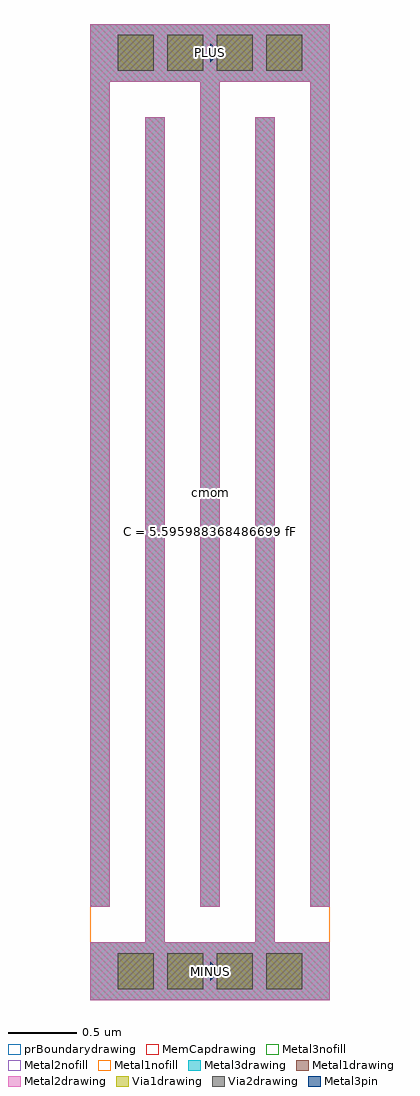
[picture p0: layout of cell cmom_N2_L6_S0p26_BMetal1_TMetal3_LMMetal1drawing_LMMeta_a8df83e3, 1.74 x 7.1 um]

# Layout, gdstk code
import gdstk
lib = gdstk.Library(unit=1e-6, precision=1e-09)
def R(c, l, rs):  # rectangles x0, y0, x1, y1
    for r in rs: c.add(gdstk.rectangle(r[:2], r[2:], *l))
def P(c, l, *ps):  # polygons
    for p in ps: c.add(gdstk.Polygon(p, *l))
Metal1drawing = (8, 0)
Metal1nofill = (8, 23)
Metal2drawing = (10, 0)
Metal2nofill = (10, 23)
Via1drawing = (19, 0)
Via2drawing = (29, 0)
Metal3drawing = (30, 0)
Metal3pin = (30, 2)
Metal3nofill = (30, 23)
MemCapdrawing = (69, 0)
prBoundarydrawing = (189, 0)

bbox_gdsfactorypcomponen = lib.new_cell('bbox_gdsfactorypcomponentspshapespbbox_CUnnamed_0_LprBo_1c9bbcdf')
R(bbox_gdsfactorypcomponen, prBoundarydrawing, [(0,-0.42,1.74,6.68)])

c_bbox_gdsfactorypcomponen = lib.new_cell('bbox_gdsfactorypcomponentspshapespbbox_CUnnamed_0_LMemC_5503aae8')
R(c_bbox_gdsfactorypcomponen, MemCapdrawing, [(0,-0.42,1.74,6.68)])

c_bbox_gdsfactorypcomponen_ = lib.new_cell('bbox_gdsfactorypcomponentspshapespbbox_CUnnamed_0_LMeta_9b0240bd')
R(c_bbox_gdsfactorypcomponen_, Metal3nofill, [(0,-0.42,1.74,6.68)])

rectangle_gdsfactorypcom = lib.new_cell('rectangle_gdsfactorypcomponentspshapesprectangle_S1p74__f3560246')
R(rectangle_gdsfactorypcom, Metal3drawing, [(0,0,1.74,0.42)])

c_rectangle_gdsfactorypcom = lib.new_cell('rectangle_gdsfactorypcomponentspshapesprectangle_S0p14__c99c4eaa')
R(c_rectangle_gdsfactorypcom, Metal3drawing, [(0,0,0.14,6)])

c_rectangle_gdsfactorypcom_ = lib.new_cell('rectangle_gdsfactorypcomponentspshapesprectangle_S1p74__b67e47f5')
R(c_rectangle_gdsfactorypcom_, Metal1drawing, [(0,0,1.74,0.42)])

c_rectangle_gdsfactorypcom__ = lib.new_cell('rectangle_gdsfactorypcomponentspshapesprectangle_S0p14__4607a1b4')
R(c_rectangle_gdsfactorypcom__, Metal2drawing, [(0,0,0.14,6)])

c_bbox_gdsfactorypcomponen__ = lib.new_cell('bbox_gdsfactorypcomponentspshapespbbox_CUnnamed_0_LMeta_09b22789')
R(c_bbox_gdsfactorypcomponen__, Metal2nofill, [(0,-0.42,1.74,6.68)])

c_bbox_gdsfactorypcomponen___ = lib.new_cell('bbox_gdsfactorypcomponentspshapespbbox_CUnnamed_0_LMeta_507ee9db')
R(c_bbox_gdsfactorypcomponen___, Metal1nofill, [(0,-0.42,1.74,6.68)])

c_rectangle_gdsfactorypcom___ = lib.new_cell('rectangle_gdsfactorypcomponentspshapesprectangle_S0p14__d476d105')
R(c_rectangle_gdsfactorypcom___, Metal1drawing, [(0,0,0.14,6)])

c_rectangle_gdsfactorypcom____ = lib.new_cell('rectangle_gdsfactorypcomponentspshapesprectangle_S1p74__3132c2fd')
R(c_rectangle_gdsfactorypcom____, Metal2drawing, [(0,0,1.74,0.42)])

c_rectangle_gdsfactorypcom_____ = lib.new_cell('rectangle_gdsfactorypcomponentspshapesprectangle_S0p26__6e8be91d')
R(c_rectangle_gdsfactorypcom_____, Via1drawing, [(0,0,0.26,0.26)])

via_array_vtvia1_c4_r1_v = lib.new_cell('via_array_VTVia1_C4_R1_VS0p26_VS0p36_VE0p06_LCContdrawi_81fd375f')
via_array_vtvia1_c4_r1_v.add(gdstk.Reference(c_rectangle_gdsfactorypcom_____, (0,0)))
via_array_vtvia1_c4_r1_v.add(gdstk.Reference(c_rectangle_gdsfactorypcom_____, (0.36,0)))
via_array_vtvia1_c4_r1_v.add(gdstk.Reference(c_rectangle_gdsfactorypcom_____, (0.72,0)))
via_array_vtvia1_c4_r1_v.add(gdstk.Reference(c_rectangle_gdsfactorypcom_____, (1.08,0)))

c_rectangle_gdsfactorypcom______ = lib.new_cell('rectangle_gdsfactorypcomponentspshapesprectangle_S1p74__a4dcded5')
R(c_rectangle_gdsfactorypcom______, Metal3drawing, [(-0.87,-0.21,0.87,0.21)])

c_rectangle_gdsfactorypcom_______ = lib.new_cell('rectangle_gdsfactorypcomponentspshapesprectangle_S0p26__938c5197')
R(c_rectangle_gdsfactorypcom_______, Via2drawing, [(0,0,0.26,0.26)])

via_array_vtvia2_c4_r1_v = lib.new_cell('via_array_VTVia2_C4_R1_VS0p26_VS0p36_VE0p06_LCContdrawi_2fb5b1ec')
via_array_vtvia2_c4_r1_v.add(gdstk.Reference(c_rectangle_gdsfactorypcom_______, (0,0)))
via_array_vtvia2_c4_r1_v.add(gdstk.Reference(c_rectangle_gdsfactorypcom_______, (0.36,0)))
via_array_vtvia2_c4_r1_v.add(gdstk.Reference(c_rectangle_gdsfactorypcom_______, (0.72,0)))
via_array_vtvia2_c4_r1_v.add(gdstk.Reference(c_rectangle_gdsfactorypcom_______, (1.08,0)))

c_rectangle_gdsfactorypcom________ = lib.new_cell('rectangle_gdsfactorypcomponentspshapesprectangle_S1p74__83bb5729')
R(c_rectangle_gdsfactorypcom________, Metal2drawing, [(-0.87,-0.21,0.87,0.21)])

c_rectangle_gdsfactorypcom_________ = lib.new_cell('rectangle_gdsfactorypcomponentspshapesprectangle_S1p74__fff7516b')
R(c_rectangle_gdsfactorypcom_________, Metal1drawing, [(-0.87,-0.21,0.87,0.21)])

via_stack_blmetal1_tlmet = lib.new_cell('via_stack_BLMetal1_TLMetal3_S1p74_0p42000000000000004_V_2093c531')
via_stack_blmetal1_tlmet.add(gdstk.Reference(via_array_vtvia1_c4_r1_v, (-0.67,-0.13)))
via_stack_blmetal1_tlmet.add(gdstk.Reference(c_rectangle_gdsfactorypcom______, (0,0)))
via_stack_blmetal1_tlmet.add(gdstk.Reference(via_array_vtvia2_c4_r1_v, (-0.67,-0.13)))
via_stack_blmetal1_tlmet.add(gdstk.Reference(c_rectangle_gdsfactorypcom________, (0,0)))
via_stack_blmetal1_tlmet.add(gdstk.Reference(c_rectangle_gdsfactorypcom_________, (0,0)))

cmom_n2_l6_s0p26_bmetal1 = lib.new_cell('cmom_N2_L6_S0p26_BMetal1_TMetal3_LMMetal1drawing_LMMeta_a8df83e3')
P(cmom_n2_l6_s0p26_bmetal1, Metal3pin, [(0.87,-0.28),(0.87,-0.21),(0.877,-0.21),(0.877,-0.263),(0.931,-0.21),(0.87,-0.21),(0.87,-0.14),(0.94,-0.21)],
  [(0.87,6.4),(0.87,6.47),(0.877,6.47),(0.877,6.417),(0.931,6.47),(0.87,6.47),(0.87,6.54),(0.94,6.47)])
cmom_n2_l6_s0p26_bmetal1.add(gdstk.Reference(bbox_gdsfactorypcomponen, (0,0)))
cmom_n2_l6_s0p26_bmetal1.add(gdstk.Reference(c_bbox_gdsfactorypcomponen, (0,0)))
cmom_n2_l6_s0p26_bmetal1.add(gdstk.Reference(c_bbox_gdsfactorypcomponen_, (0,0)))
cmom_n2_l6_s0p26_bmetal1.add(gdstk.Reference(rectangle_gdsfactorypcom, (0,-0.42)))
cmom_n2_l6_s0p26_bmetal1.add(gdstk.Reference(rectangle_gdsfactorypcom, (0,6.26)))
r = gdstk.Reference(c_rectangle_gdsfactorypcom, (0.4,0)); r.repetition = gdstk.Repetition(2, 1, v1=(0.8,0), v2=(0,0)); cmom_n2_l6_s0p26_bmetal1.add(r)
cmom_n2_l6_s0p26_bmetal1.add(gdstk.Reference(c_rectangle_gdsfactorypcom_, (0,-0.42)))
cmom_n2_l6_s0p26_bmetal1.add(gdstk.Reference(c_rectangle_gdsfactorypcom_, (0,6.26)))
r = gdstk.Reference(c_rectangle_gdsfactorypcom, (0,0.26)); r.repetition = gdstk.Repetition(3, 1, v1=(0.8,0), v2=(0,0)); cmom_n2_l6_s0p26_bmetal1.add(r)
r = gdstk.Reference(c_rectangle_gdsfactorypcom__, (0.4,0)); r.repetition = gdstk.Repetition(2, 1, v1=(0.8,0), v2=(0,0)); cmom_n2_l6_s0p26_bmetal1.add(r)
cmom_n2_l6_s0p26_bmetal1.add(gdstk.Reference(c_bbox_gdsfactorypcomponen__, (0,0)))
r = gdstk.Reference(c_rectangle_gdsfactorypcom__, (0,0.26)); r.repetition = gdstk.Repetition(3, 1, v1=(0.8,0), v2=(0,0)); cmom_n2_l6_s0p26_bmetal1.add(r)
cmom_n2_l6_s0p26_bmetal1.add(gdstk.Reference(c_bbox_gdsfactorypcomponen___, (0,0)))
r = gdstk.Reference(c_rectangle_gdsfactorypcom___, (0.4,0)); r.repetition = gdstk.Repetition(2, 1, v1=(0.8,0), v2=(0,0)); cmom_n2_l6_s0p26_bmetal1.add(r)
cmom_n2_l6_s0p26_bmetal1.add(gdstk.Reference(c_rectangle_gdsfactorypcom____, (0,-0.42)))
cmom_n2_l6_s0p26_bmetal1.add(gdstk.Reference(c_rectangle_gdsfactorypcom____, (0,6.26)))
cmom_n2_l6_s0p26_bmetal1.add(gdstk.Reference(via_stack_blmetal1_tlmet, (0.87,-0.21)))
cmom_n2_l6_s0p26_bmetal1.add(gdstk.Reference(via_stack_blmetal1_tlmet, (0.87,6.47)))
r = gdstk.Reference(c_rectangle_gdsfactorypcom___, (0,0.26)); r.repetition = gdstk.Repetition(3, 1, v1=(0.8,0), v2=(0,0)); cmom_n2_l6_s0p26_bmetal1.add(r)
cmom_n2_l6_s0p26_bmetal1.add(gdstk.Label('MINUS', (0.87,-0.21), layer=30, texttype=1))
cmom_n2_l6_s0p26_bmetal1.add(gdstk.Label('PLUS', (0.87,6.47), layer=30, texttype=1))
cmom_n2_l6_s0p26_bmetal1.add(gdstk.Label('MINUS', (0.87,-0.21), layer=30, texttype=2))
cmom_n2_l6_s0p26_bmetal1.add(gdstk.Label('PLUS', (0.87,6.47), layer=30, texttype=2))
cmom_n2_l6_s0p26_bmetal1.add(gdstk.Label('cmom', (0.87,3.27), layer=63, texttype=0))
cmom_n2_l6_s0p26_bmetal1.add(gdstk.Label('C = 5.595988368486699 fF', (0.87,2.99), layer=63, texttype=0))
cmom_n2_l6_s0p26_bmetal1.add(gdstk.Label('MINUS', (0.87,-0.21), layer=63, texttype=0))
cmom_n2_l6_s0p26_bmetal1.add(gdstk.Label('PLUS', (0.87,6.47), layer=63, texttype=0))

lib.write_gds('cmom_N2_L6_S0p26_BMetal1_TMetal3_LMMetal1drawing_LMMeta_a8df83e3.gds')
